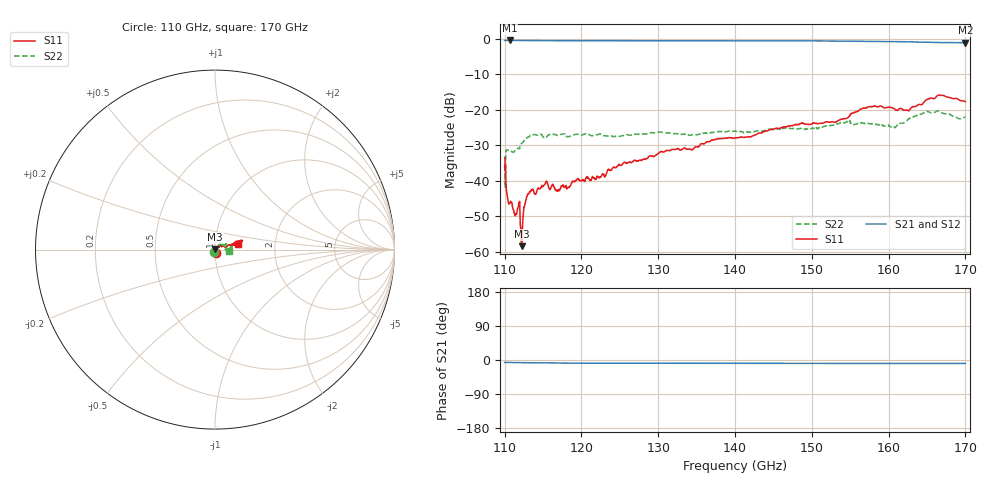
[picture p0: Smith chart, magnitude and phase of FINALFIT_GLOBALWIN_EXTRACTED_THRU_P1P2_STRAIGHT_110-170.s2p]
! Generated by Phase I extraction
# Hz S RI R 50
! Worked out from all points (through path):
!   1471 points, 110 GHz to 170 GHz, reference 50 ohm
!   highest |S21| = -0.48 dB at 110.7 GHz (marker M1); lowest = -1.1 dB at 170 GHz (marker M2)
!   lowest |S11| = -58.4 dB at 112.2 GHz (marker M3), VSWR 1.00, Z = 50.1 + j0.0838 ohm
!   |S11| at or under -10 dB: start of sweep to end of sweep
!   |S22| runs from -41.9 to -20.4 dB; largest |S21 - S12| = 0.0077
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1.1e11  0.00734 -0.0199  0.9402 -0.1045  0.94 -0.1105  -0.00794 -0.0143
1.10449e11  0.00128 -0.00503  0.9399 -0.1077  0.9395 -0.1142  0.0183 0.0197
1.106939e11  0.00247 -0.00427  0.9397 -0.1092  0.9392 -0.116  0.0181 0.0197
1.113469e11  0.00137 -0.00305  0.9393 -0.1124  0.9386 -0.1196  0.0187 0.0188
1.117143e11  0.00331 -0.00236  0.9389 -0.1138  0.9382 -0.1212  0.0195 0.0209
1.122041e11  0.000854 0.000837  0.9384 -0.1154  0.9376 -0.1228  0.0217 0.0258
1.124082e11  -0.00165 0.00276  0.9381 -0.1161  0.9373 -0.1235  0.022 0.0274
1.128163e11  -0.00218 0.00502  0.9375 -0.1173  0.9367 -0.1246  0.0242 0.0316
1.134694e11  -0.00137 0.00721  0.9362 -0.1198  0.9354 -0.127  0.0255 0.0358
1.153469e11  -0.00279 0.00897  0.9309 -0.1302  0.9299 -0.1377  0.0252 0.0315
1.169388e11  0.000709 0.00731  0.9288 -0.1352  0.9277 -0.1428  0.0287 0.0324
1.2e11  0.00557 0.00831  0.9277 -0.1394  0.9265 -0.1469  0.0312 0.031
1.3e11  0.0185 0.0154  0.9278 -0.1393  0.9273 -0.1435  0.0354 0.0327
1.4e11  0.0363 0.0165  0.9296 -0.1383  0.9299 -0.1378  0.0394 0.0303
1.5e11  0.0609 0.015  0.922 -0.143  0.923 -0.1428  0.0476 0.028
1.546939e11  0.073 0.0245  0.9117 -0.1439  0.9121 -0.1447  0.0616 0.0283
1.573469e11  0.1058 0.0284  0.9053 -0.1444  0.9051 -0.1465  0.0588 0.0248
1.6e11  0.1055 0.0254  0.9014 -0.1463  0.9014 -0.1469  0.0587 0.0153
1.625306e11  0.093 0.027  0.893 -0.1466  0.8928 -0.1482  0.0728 -0.00734
1.649796e11  0.1317 0.0456  0.8799 -0.1443  0.879 -0.1491  0.095 0.00198
1.667755e11  0.1519 0.047  0.8726 -0.1418  0.8717 -0.1468  0.0905 0.0185
1.7e11  0.1257 0.0329  0.8693 -0.138  0.8693 -0.1368  0.077 -0.0103
